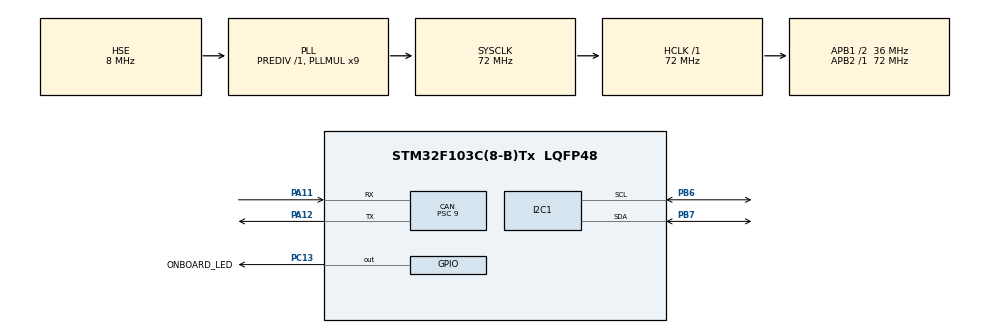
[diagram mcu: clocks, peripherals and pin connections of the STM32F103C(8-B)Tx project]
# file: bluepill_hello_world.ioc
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CAN.BS1=CAN_BS1_3TQ
CAN.BS2=CAN_BS2_4TQ
CAN.CalculateBaudRate=500000
CAN.CalculateTimeBit=2000
CAN.CalculateTimeQuantum=250.0
CAN.Prescaler=9
I2C1.I2C_Mode=I2C_Standard
Mcu.Family=STM32F1
Mcu.Name=STM32F103C(8-B)Tx
Mcu.Package=LQFP48
NVIC.PriorityGroup=NVIC_PRIORITYGROUP_4
NVIC.USB_LP_CAN1_RX0_IRQn=true\:0\:0\:false\:false\:true\:true\:true
PA11.Mode=CAN_Activate
PA11.Signal=CAN_RX
PA12.Mode=CAN_Activate
PA12.Signal=CAN_TX
PA13.Mode=Trace_Asynchronous_SW
PA13.Signal=SYS_JTMS-SWDIO
PA14.Mode=Trace_Asynchronous_SW
PA14.Signal=SYS_JTCK-SWCLK
PB3.Mode=Trace_Asynchronous_SW
PB3.Signal=SYS_JTDO-TRACESWO
PB6.Mode=I2C
PB6.Signal=I2C1_SCL
PB7.Mode=I2C
PB7.Signal=I2C1_SDA
PC13-TAMPER-RTC.GPIO_Label=ONBOARD_LED
PC13-TAMPER-RTC.Signal=GPIO_Output
PC14-OSC32_IN.Mode=LSE-External-Oscillator
PC14-OSC32_IN.Signal=RCC_OSC32_IN
PC15-OSC32_OUT.Mode=LSE-External-Oscillator
PC15-OSC32_OUT.Signal=RCC_OSC32_OUT
PD0-OSC_IN.Mode=HSE-External-Oscillator
PD0-OSC_IN.Signal=RCC_OSC_IN
PD1-OSC_OUT.Mode=HSE-External-Oscillator
PD1-OSC_OUT.Signal=RCC_OSC_OUT
ProjectManager.HeapSize=0x200
ProjectManager.StackSize=0x400
ProjectManager.TargetToolchain=STM32CubeIDE
RCC.AHBFreq_Value=72000000
RCC.APB1CLKDivider=RCC_HCLK_DIV2
RCC.APB1Freq_Value=36000000
RCC.APB1TimFreq_Value=72000000
RCC.APB2Freq_Value=72000000
RCC.APB2TimFreq_Value=72000000
RCC.HCLKFreq_Value=72000000
RCC.PLLMUL=RCC_PLL_MUL9
RCC.PLLSourceVirtual=RCC_PLLSOURCE_HSE
RCC.SYSCLKFreq_VALUE=72000000
RCC.SYSCLKSource=RCC_SYSCLKSOURCE_PLLCLK
RCC.USBFreq_Value=72000000
board=custom

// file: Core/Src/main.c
/* USER CODE BEGIN Header */
/**
  ******************************************************************************
  * @file           : main.c
  * @brief          : Main program body
  ******************************************************************************
  * @attention
  *
  * Copyright (c) 2022 STMicroelectronics.
  * All rights reserved.
  *
  * This software is licensed under terms that can be found in the LICENSE file
  * in the root directory of this software component.
  * If no LICENSE file comes with this software, it is provided AS-IS.
  *
  ******************************************************************************
  */
/* USER CODE END Header */
#include "main.h"

/* USER CODE BEGIN PTD */
CAN_RxHeaderTypeDef rxHeader; //CAN Bus Transmit Header
CAN_TxHeaderTypeDef txHeader; //CAN Bus Receive Header
uint8_t canRX[8] = {0,0,0,0,0,0,0,0};  //CAN Bus Receive Buffer
CAN_FilterTypeDef canfil; //CAN Bus Filter
uint32_t canMailbox; //CAN Bus Mail box variable
/* USER CODE END PTD */

CAN_HandleTypeDef hcan;

I2C_HandleTypeDef hi2c1;

void SystemClock_Config(void);
static void MX_GPIO_Init(void);
static void MX_CAN_Init(void);
static void MX_I2C1_Init(void);
/* USER CODE BEGIN PFP */
void delay (int a);
void setTxHeader(uint32_t CanID);
/* USER CODE END PFP */

/* USER CODE BEGIN 0 */
/* USER CODE BEGIN PD */
//Connect ADDR pin to GND and I2C slave adress will be 0X48 .
#define ADS1115_ADDRESS 0x48
unsigned char ADSwrite[6];
int16_t reading;
float voltage[2];
int voltReading[2];
const float voltageConv = 6.114 / 32768.0;
uint8_t counter = 0x00;

/* USER CODE END 0 */

int main(void)
{

  /* MCU Configuration--------------------------------------------------------*/

  /* Reset of all peripherals, Initializes the Flash interface and the Systick. */
  HAL_Init();

  /* Configure the system clock */
  SystemClock_Config();

  /* Initialize all configured peripherals */
  MX_GPIO_Init();
  MX_CAN_Init();
  MX_I2C1_Init();
  /* USER CODE BEGIN 2 */
  canfil.FilterBank = 0;
  canfil.FilterMode = CAN_FILTERMODE_IDMASK;
  canfil.FilterFIFOAssignment = CAN_RX_FIFO0;
  canfil.FilterIdHigh = 0;
  canfil.FilterIdLow = 0;
  canfil.FilterMaskIdHigh = 0;
  canfil.FilterMaskIdLow = 0;
  canfil.FilterScale = CAN_FILTERSCALE_32BIT;
  canfil.FilterActivation = ENABLE;
  canfil.SlaveStartFilterBank = 14;

  txHeader.DLC = 8; // Number of bites to be transmitted max- 8
  txHeader.IDE = CAN_ID_STD;
  txHeader.RTR = CAN_RTR_DATA;
  txHeader.StdId = 0x030;
  txHeader.ExtId = 0x02;
  txHeader.TransmitGlobalTime = DISABLE;

  HAL_CAN_ConfigFilter(&hcan,&canfil); //Initialize CAN Filter
  HAL_CAN_Start(&hcan); //Initialize CAN Bus
 // HAL_CAN_ActivateNotification(&hcan,CAN_IT_RX_FIFO0_MSG_PENDING);// Initialize CAN Bus Rx Interrupt
  /* USER CODE END 2 */

  /* Infinite loop */
  while (1)
  {

    /* USER CODE BEGIN 3 */
	  if (counter % 10 == 0 ){
		  HAL_GPIO_WritePin(ONBOARD_LED_GPIO_Port, ONBOARD_LED_Pin, GPIO_PIN_SET);
	  }
	  for(int i=0; i< 2; i++){
	  			ADSwrite[0] = 0x01;

	  			switch(i){
	  				case(0):
	  					ADSwrite[1] = 0xC1; //11000001
	  				break;
	  				case(1):
	  					ADSwrite[1] = 0xD1; //11010001
	  				break;
	  			//	case(2):
	  			//		ADSwrite[1] = 0xE1;
	  			//	break;
	  			//	case(3):
	  			//		ADSwrite[1] = 0xF1;
	  			//	break;
	  			}

	  			ADSwrite[2] = 0x83; //10000011 LSB

	  			HAL_I2C_Master_Transmit(&hi2c1, ADS1115_ADDRESS << 1, ADSwrite, 3, 100);
	  			ADSwrite[0] = 0x00;
	  			HAL_I2C_Master_Transmit(&hi2c1, ADS1115_ADDRESS << 1 , ADSwrite, 1 ,100);
	  			HAL_Delay(20);

	  			HAL_I2C_Master_Receive(&hi2c1, ADS1115_ADDRESS <<1, ADSwrite, 2, 100);
	  			reading = (ADSwrite[0] << 8 | ADSwrite[1] );
	  			if(reading < 0) {
	  				reading = 0;
	  			}
	  			//voltage[i] = reading * voltageConv;
	  			voltReading[i] = reading;

	  		}
	  uint8_t csend[] = {0x00,0x00,0x00,0x00,0x00,0x00,0x00,0x00}; // Tx Buffer

	  /*-----------------------------------------------------------------------------*
	   * 0x316
	   *
	   * Byte 0 - 0x0D - ignition on, no errors
	   * Byte 1 - 0x00 - indexed engine torque
	   * Byte 2 - Engine Speed LSB
	   * Byte 3 - Engine Speed MSB ((HEX[MSB] * 256) + HEX[LSB]) * 0.15625
	   * Byte 4 - 0x00 - indicated engine torque
	   * Byte 5 - 0x00 - torque loss
	   * Byte 6 - 0x00 - no errors
	   * Byte 7 - 0x00 - torque MAF
	   *
	   *-----------------------------------------------------------------------------*/

	  setTxHeader(0x316);

	  csend[0] = 0x0D;
	  csend[2] = voltReading[0] & 0xFF;
	  csend[3] = (voltReading[0] >> 8 & 0xFF) * 2.77;
	  HAL_CAN_AddTxMessage(&hcan,&txHeader,csend,&canMailbox); // Send Message

	  /*-----------------------------------------------------------------------------*
	   * 0x329
	   *
	   * Byte 0 - 0x11 - CAN bus function level. Always 0x11 for MS43
	   * Byte 1 - Coolant temperature (HEX * 0.75) - 48°C. Init 0xFF
	   * Byte 2 - 0xD0 - Ambient Pressure in hPa (HEX * 2) + 598hPa. Set to 1013. Init 0x00
	   * Byte 3 - 0x0C - Engine running, no cruise
	   * Byte 4 - 0x00 - ?
	   * Byte 5 - 0x00 - TPS
	   * Byte 6 - 0x00 - no brake, brake system ok, no cruise, no shift lock
	   * Byte 7 - 0x00 - not used
	   *
	   *-----------------------------------------------------------------------------*/

	  setTxHeader(0x329);

	  csend[0] = 0x11;
	  csend[1] = (voltReading[1] >> 8 & 0xFF) * 2.77; // MSB of other axis sets temp
	  csend[2] = 0xD0;
	  csend[3] = 0x0C;
	  HAL_CAN_AddTxMessage(&hcan,&txHeader,csend,&canMailbox); // Send Message

	  /*-----------------------------------------------------------------------------*
	   * 0x545
	   *
	   * Byte 0 - 0x00 - CEL, Cruise, EML, Fuel cap lights off
	   * Byte 1 - 0x00 - fuel consumption LSB
	   * Byte 2 - 0x00 - fuel consumption MSB
	   * Byte 3 - 0x00 - Oil light, coolant overheat lights off
	   * Byte 4 - 0x48 - Oil temp HEX - 48°C. Set to 120c
	   * Byte 5 - 0x00 - not used
	   * Byte 6 - 0x00 - not used
	   * Byte 7 - 0x00 - not used
	   *
	   *-----------------------------------------------------------------------------*/

	  setTxHeader(0x545);
      csend[0] = 0x00; //reset byte to 0x00
      csend[1] = 0x00; //reset byte to 0x00
      csend[2] = 0x00; //reset byte to 0x00
      csend[3] = 0x00; //reset byte to 0x00
      csend[4] = 0x48;
      HAL_CAN_AddTxMessage(&hcan,&txHeader,csend,&canMailbox); // Send Message

      // only flash every 100ms
	  if (counter % 10 == 0 ){
		  HAL_GPIO_TogglePin(ONBOARD_LED_GPIO_Port, ONBOARD_LED_Pin);// toggle PA3 LED
	  }
	  counter++;
	  HAL_Delay(10); // delay by 10ms
  }
  /* USER CODE END 3 */
}

void SystemClock_Config(void)
{
  RCC_OscInitTypeDef RCC_OscInitStruct = {0};
  RCC_ClkInitTypeDef RCC_ClkInitStruct = {0};

  /** Initializes the RCC Oscillators according to the specified parameters
  * in the RCC_OscInitTypeDef structure.
  */
  RCC_OscInitStruct.OscillatorType = RCC_OSCILLATORTYPE_HSE;
  RCC_OscInitStruct.HSEState = RCC_HSE_ON;
  RCC_OscInitStruct.HSEPredivValue = RCC_HSE_PREDIV_DIV1;
  RCC_OscInitStruct.HSIState = RCC_HSI_ON;
  RCC_OscInitStruct.PLL.PLLState = RCC_PLL_ON;
  RCC_OscInitStruct.PLL.PLLSource = RCC_PLLSOURCE_HSE;
  RCC_OscInitStruct.PLL.PLLMUL = RCC_PLL_MUL9;
  if (HAL_RCC_OscConfig(&RCC_OscInitStruct) != HAL_OK)
  {
    Error_Handler();
  }
  /** Initializes the CPU, AHB and APB buses clocks
  */
  RCC_ClkInitStruct.ClockType = RCC_CLOCKTYPE_HCLK|RCC_CLOCKTYPE_SYSCLK
                              |RCC_CLOCKTYPE_PCLK1|RCC_CLOCKTYPE_PCLK2;
  RCC_ClkInitStruct.SYSCLKSource = RCC_SYSCLKSOURCE_PLLCLK;
  RCC_ClkInitStruct.AHBCLKDivider = RCC_SYSCLK_DIV1;
  RCC_ClkInitStruct.APB1CLKDivider = RCC_HCLK_DIV2;
  RCC_ClkInitStruct.APB2CLKDivider = RCC_HCLK_DIV1;

  if (HAL_RCC_ClockConfig(&RCC_ClkInitStruct, FLASH_LATENCY_2) != HAL_OK)
  {
    Error_Handler();
  }
}

static void MX_CAN_Init(void)
{

  hcan.Instance = CAN1;
  hcan.Init.Prescaler = 9;
  hcan.Init.Mode = CAN_MODE_NORMAL;
  hcan.Init.SyncJumpWidth = CAN_SJW_1TQ;
  hcan.Init.TimeSeg1 = CAN_BS1_3TQ;
  hcan.Init.TimeSeg2 = CAN_BS2_4TQ;
  hcan.Init.TimeTriggeredMode = DISABLE;
  hcan.Init.AutoBusOff = DISABLE;
  hcan.Init.AutoWakeUp = DISABLE;
  hcan.Init.AutoRetransmission = DISABLE;
  hcan.Init.ReceiveFifoLocked = DISABLE;
  hcan.Init.TransmitFifoPriority = DISABLE;
  if (HAL_CAN_Init(&hcan) != HAL_OK)
  {
    Error_Handler();
  }

}

static void MX_I2C1_Init(void)
{

  hi2c1.Instance = I2C1;
  hi2c1.Init.ClockSpeed = 100000;
  hi2c1.Init.DutyCycle = I2C_DUTYCYCLE_2;
  hi2c1.Init.OwnAddress1 = 0;
  hi2c1.Init.AddressingMode = I2C_ADDRESSINGMODE_7BIT;
  hi2c1.Init.DualAddressMode = I2C_DUALADDRESS_DISABLE;
  hi2c1.Init.OwnAddress2 = 0;
  hi2c1.Init.GeneralCallMode = I2C_GENERALCALL_DISABLE;
  hi2c1.Init.NoStretchMode = I2C_NOSTRETCH_DISABLE;
  if (HAL_I2C_Init(&hi2c1) != HAL_OK)
  {
    Error_Handler();
  }

}

static void MX_GPIO_Init(void)
{
  GPIO_InitTypeDef GPIO_InitStruct = {0};

  /* GPIO Ports Clock Enable */
  __HAL_RCC_GPIOC_CLK_ENABLE();
  __HAL_RCC_GPIOD_CLK_ENABLE();
  __HAL_RCC_GPIOA_CLK_ENABLE();
  __HAL_RCC_GPIOB_CLK_ENABLE();

  /*Configure GPIO pin Output Level */
  HAL_GPIO_WritePin(ONBOARD_LED_GPIO_Port, ONBOARD_LED_Pin, GPIO_PIN_RESET);

  /*Configure GPIO pin : ONBOARD_LED_Pin */
  GPIO_InitStruct.Pin = ONBOARD_LED_Pin;
  GPIO_InitStruct.Mode = GPIO_MODE_OUTPUT_PP;
  GPIO_InitStruct.Pull = GPIO_NOPULL;
  GPIO_InitStruct.Speed = GPIO_SPEED_FREQ_LOW;
  HAL_GPIO_Init(ONBOARD_LED_GPIO_Port, &GPIO_InitStruct);

}

/* USER CODE BEGIN 4 */

/*int _write(int file, char *ptr, int len)
{
  int DataIdx;

  for (DataIdx = 0; DataIdx < len; DataIdx++)
  {
    ITM_SendChar(*ptr++);
  }
  return len;
}*/
int __io_putchar(int ch)
{
 // Write character to ITM ch.0
 ITM_SendChar(ch);
 return(ch);
}
void delay (int a)
{
  volatile int i,j;
  for (i=0 ; i < a ; i++)
  {
     j++;
  }
  return;
}
void setTxHeader(uint32_t CanID){
	/*txHeader.DLC = 8; // Number of bites to be transmitted max- 8
	txHeader.IDE = CAN_ID_STD;
	txHeader.RTR = CAN_RTR_DATA;
	txHeader.StdId = 0x030;
	txHeader.ExtId = 0x02;
	txHeader.TransmitGlobalTime = DISABLE;*/
	txHeader.StdId = CanID;
}
void HAL_CAN_RxFifo0MsgPendingCallback(CAN_HandleTypeDef *hcan1)
{
	HAL_CAN_GetRxMessage(hcan1, CAN_RX_FIFO0, &rxHeader, canRX); //Receive CAN bus message to canRX buffer
	printf("Received a message! ID 0x%X DLC %X MSG: 0x%X %X %X %X %X %X %X %X\n", rxHeader.StdId, rxHeader.DLC, canRX[0], canRX[1], canRX[2], canRX[3], canRX[4], canRX[5], canRX[6], canRX[7]);
	//HAL_GPIO_TogglePin(ONBOARD_LED_GPIO_Port, ONBOARD_LED_Pin);// toggle PA3 LED

}
/* USER CODE END 4 */

void Error_Handler(void)
{
  __disable_irq();
  while (1)
  {
  }
}
